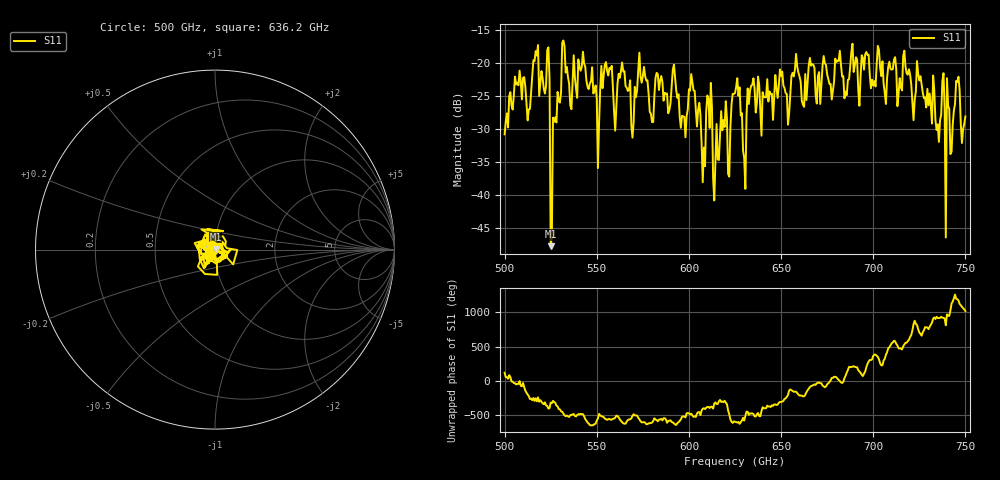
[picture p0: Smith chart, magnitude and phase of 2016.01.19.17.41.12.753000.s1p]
!Created with skrf (http://scikit-rf.org).
# GHz S RI R 50.0
!freq ReS11 ImS11
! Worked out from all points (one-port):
!   401 points, 500 GHz to 750 GHz, reference 50 ohm
!   lowest |S11| = -47.8 dB at 525 GHz (marker M1), VSWR 1.01, Z = 50.3 + j0.297 ohm
!   |S11| at or under -10 dB: start of sweep to end of sweep
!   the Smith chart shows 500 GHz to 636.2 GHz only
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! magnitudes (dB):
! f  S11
! 500 GHz  -30.8
! 506.9 GHz  -23.0
! 513.1 GHz  -27.1
! 516.9 GHz  -18.3
! 523.1 GHz  -18.1
! 525 GHz  -47.8
! 526.2 GHz  -28.3
! 531.2 GHz  -17.0
! 550 GHz  -25.5
! 562.5 GHz  -22.3
! 570 GHz  -29.0
! 574.4 GHz  -23.0
! 579.4 GHz  -27.8
! 593.8 GHz  -25.3
! 596.9 GHz  -28.1
! 601.9 GHz  -23.0
! 607.5 GHz  -38.1
! 611.2 GHz  -29.9
! 614.4 GHz  -35.2
! 625 GHz  -24.6
! 630 GHz  -34.4
! 634.4 GHz  -23.4
! 656.2 GHz  -21.5
! 687.5 GHz  -20.6
! 718.8 GHz  -21.8
! 740.6 GHz  -26.5
! 745.6 GHz  -22.9
! 750 GHz  -28.1
